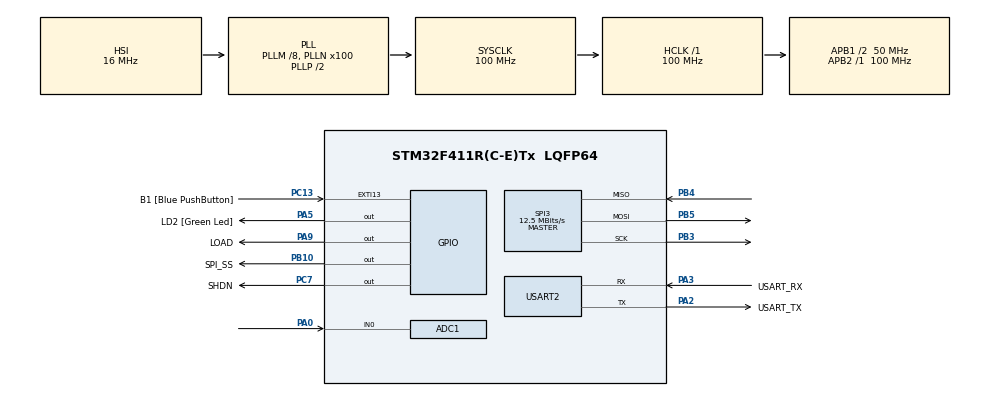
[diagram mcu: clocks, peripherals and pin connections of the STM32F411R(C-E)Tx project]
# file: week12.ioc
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Mcu.Family=STM32F4
PB10.PinState=GPIO_PIN_SET
RCC.CortexFreq_Value=100000000
SPI3.Direction=SPI_DIRECTION_2LINES
SPI3.VirtualType=VM_MASTER
PA14.GPIO_Label=TCK
RCC.SYSCLKSource=RCC_SYSCLKSOURCE_PLLCLK
ProjectManager.StackSize=0x400
NVIC.ADC_IRQn=true\:0\:0\:false\:false\:true\:true\:true
PH0\ -\ OSC_IN.Signal=RCC_OSC_IN
RCC.HCLKFreq_Value=100000000
RCC.APB2TimFreq_Value=100000000
TIM3.Period=100
Dma.ADC1.0.Direction=DMA_PERIPH_TO_MEMORY
PC7.Signal=GPIO_Output
NVIC.DMA2_Stream0_IRQn=true\:0\:0\:false\:false\:true\:false\:true
Dma.ADC1.0.MemDataAlignment=DMA_MDATAALIGN_HALFWORD
RCC.AHBFreq_Value=100000000
SPI3.DataSize=SPI_DATASIZE_16BIT
ADC1.Channel-0\#ChannelRegularConversion=ADC_CHANNEL_0
NVIC.TIM1_TRG_COM_TIM11_IRQn=true\:0\:0\:false\:false\:true\:true\:true
RCC.HSE_VALUE=8000000
PB3.Mode=Full_Duplex_Master
ADC1.ScanConvMode=ENABLE
PC13-ANTI_TAMP.Signal=GPXTI13
PB4.Mode=Full_Duplex_Master
PC14-OSC32_IN.Mode=LSE-External-Oscillator
PA14.Mode=Serial_Wire
TIM3.Prescaler=99
Dma.ADC1.0.PeriphInc=DMA_PINC_DISABLE
PB5.Mode=Full_Duplex_Master
PC7.PinState=GPIO_PIN_SET
SH.ADCx_IN0.0=ADC1_IN0,IN0
ADC1.SamplingTime-0\#ChannelRegularConversion=ADC_SAMPLETIME_3CYCLES
RCC.FLatency-AdvancedSettings=FLASH_LATENCY_3
Mcu.Package=LQFP64
SPI3.Mode=SPI_MODE_MASTER
USART2.VirtualMode=VM_ASYNC
PA2.GPIO_Label=USART_TX
NVIC.SPI3_IRQn=true\:0\:0\:false\:false\:true\:true\:true
RCC.APB1TimFreq_Value=100000000
Dma.ADC1.0.FIFOMode=DMA_FIFOMODE_DISABLE
Dma.Request0=ADC1
ADC1.EOCSelection=ADC_EOC_SEQ_CONV
VP_TIM3_VS_ClockSourceINT.Mode=Internal
PB4.Signal=SPI3_MISO
PA3.Signal=USART2_RX
PC15-OSC32_OUT.Mode=LSE-External-Oscillator
Dma.ADC1.0.Instance=DMA2_Stream0
ADC1.Rank-0\#ChannelRegularConversion=1
PC13-ANTI_TAMP.GPIO_Label=B1 [Blue PushButton]
PA9.GPIO_Label=LOAD
PH1\ -\ OSC_OUT.Mode=HSE-External-Clock-Source
TIM11.Prescaler=99
RCC.APB1CLKDivider=RCC_HCLK_DIV2
PC14-OSC32_IN.Signal=RCC_OSC32_IN
NVIC.USART2_IRQn=true\:0\:0\:false\:false\:true\:true\:true
PA0-WKUP.Signal=ADCx_IN0
VP_TIM11_VS_ClockSourceINT.Mode=Enable_Timer
PA13.Signal=SYS_JTMS-SWDIO
PA3.Mode=Asynchronous
Dma.ADC1.0.PeriphDataAlignment=DMA_PDATAALIGN_HALFWORD
PH0\ -\ OSC_IN.Mode=HSE-External-Clock-Source
ProjectManager.TargetToolchain=STM32CubeIDE
PB10.GPIO_Label=SPI_SS
Dma.ADC1.0.Mode=DMA_CIRCULAR
Dma.ADC1.0.Priority=DMA_PRIORITY_LOW
PA9.Signal=GPIO_Output
PA9.PinState=GPIO_PIN_SET
PC15-OSC32_OUT.Signal=RCC_OSC32_OUT
PB10.Signal=GPIO_Output
PA5.Signal=GPIO_Output
PH1\ -\ OSC_OUT.Signal=RCC_OSC_OUT
board=NUCLEO-F411RE
RCC.VCOOutputFreq_Value=200000000
ADC1.EnableAnalogWatchDog=true
RCC.APB2Freq_Value=100000000
SPI3.CalculateBaudRate=12.5 MBits/s
SPI3.BaudRatePrescaler=SPI_BAUDRATEPRESCALER_4
ADC1.DMAContinuousRequests=ENABLE
PA13.Mode=Serial_Wire
Mcu.Name=STM32F411R(C-E)Tx
PA2.Signal=USART2_TX
PA13.GPIO_Label=TMS
ADC1.ExternalTrigConv=ADC_EXTERNALTRIGCONV_T3_TRGO
PC7.GPIO_Label=SHDN
RCC.48MHZClocksFreq_Value=50000000
PB3.Signal=SPI3_SCK
RCC.SYSCLKFreq_VALUE=100000000
PB5.Signal=SPI3_MOSI
ADC1.master=1
PA5.GPIO_Label=LD2 [Green Led]
PC13-ANTI_TAMP.GPIO_ModeDefaultEXTI=GPIO_MODE_IT_FALLING
PA14.Signal=SYS_JTCK-SWCLK
Dma.ADC1.0.MemInc=DMA_MINC_ENABLE
ProjectManager.HeapSize=0x200
RCC.HSI_VALUE=16000000
NVIC.PriorityGroup=NVIC_PRIORITYGROUP_0
ADC1.NbrOfConversionFlag=1
RCC.PLLM=8
RCC.PLLN=100
PA2.Mode=Asynchronous
TIM3.TIM_MasterOutputTrigger=TIM_TRGO_UPDATE
RCC.APB1Freq_Value=50000000
PA3.GPIO_Label=USART_RX

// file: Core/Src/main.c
/* USER CODE BEGIN Header */
/**
 ******************************************************************************
 * @file           : main.c
 * @brief          : Main program body
 ******************************************************************************
 * @attention
 *
 * <h2><center>&copy; Copyright (c) 2021 STMicroelectronics.
 * All rights reserved.</center></h2>
 *
 * This software component is licensed by ST under BSD 3-Clause license,
 * the "License"; You may not use this file except in compliance with the
 * License. You may obtain a copy of the License at:
 *                        opensource.org/licenses/BSD-3-Clause
 *
 ******************************************************************************
 */
/* USER CODE END Header */
#include "main.h"
#include "math.h"

ADC_HandleTypeDef hadc1;
DMA_HandleTypeDef hdma_adc1;

SPI_HandleTypeDef hspi3;

TIM_HandleTypeDef htim3;
TIM_HandleTypeDef htim11;

UART_HandleTypeDef huart2;

/* USER CODE BEGIN PV */
char TxDataBuffer[32] =
{ 0 };
char RxDataBuffer[32] =
{ 0 };
uint16_t ADCin = 0;
uint64_t _micro = 0;
float Vlow = 0;
uint16_t dataOut = 0;
float halftime = 250;
uint16_t STATE_Display = 0;
float Vhigh = 3.3;
uint16_t Vhighr = 4095;
uint16_t Vlowr = 0;
float m = 1;
float angle = 0;
uint16_t statem[2] = {};
float freq = 1;
uint16_t ufreq = 10;
uint16_t count = 0;
uint16_t dcount = 0;
uint16_t m2 = 0;
uint8_t DACConfig = 0b0011;
uint16_t Mode = 0;
uint16_t Hz = 0;
float time = 0;
float sum = 0;
float sum3 = 0;
uint16_t duty = 50;
uint16_t on = 1;
float x = 1;
float y= 1;
/* USER CODE END PV */

void SystemClock_Config(void);
static void MX_GPIO_Init(void);
static void MX_DMA_Init(void);
static void MX_USART2_UART_Init(void);
static void MX_ADC1_Init(void);
static void MX_SPI3_Init(void);
static void MX_TIM3_Init(void);
static void MX_TIM11_Init(void);
void UARTRecieveAndResponsePolling();
int16_t UARTRecieveIT();
/* USER CODE BEGIN PFP */
void MCP4922SetOutput(uint8_t Config, uint16_t DACOutput);
uint64_t micros();
/* USER CODE END PFP */

int main(void)
{

  /* MCU Configuration--------------------------------------------------------*/

  /* Reset of all peripherals, Initializes the Flash interface and the Systick. */
  HAL_Init();

  /* Configure the system clock */
  SystemClock_Config();

  /* Initialize all configured peripherals */
  MX_GPIO_Init();
  MX_DMA_Init();
  MX_USART2_UART_Init();
  MX_ADC1_Init();
  MX_SPI3_Init();
  MX_TIM3_Init();
  MX_TIM11_Init();
  /* USER CODE BEGIN 2 */
	HAL_TIM_Base_Start(&htim3);
	HAL_TIM_Base_Start_IT(&htim11);
	HAL_ADC_Start_DMA(&hadc1, (uint32_t*) &ADCin, 1);

	HAL_GPIO_WritePin(LOAD_GPIO_Port, LOAD_Pin, GPIO_PIN_RESET);
	enum State_Display{
		StateDisplay_start =0,
			  StateMode = 10,
			  StateMenuNo_1 = 20,
			  StateNo_1 = 30,
			  StateNo_1FP = 40,
			  StateNo_1F = 50,
			  StateNo_1VP = 60,
			  StateNo_1V = 70,
			  StateVhp = 80,
			  StateVh = 90,
			  StateVlp = 100,
			  StateVl = 110,
			  StateNo_1SP = 200,
			  StateNo_1S = 210,
			  StateMenuNo_2 = 300,
			  StateNo_2 = 310,
			  StateMenuNo_3 = 500,
			  StateNo_3 = 510,
			  StateDutyP = 520,
			  StateDuty = 530
	};
  /* USER CODE END 2 */

  /* Infinite loop */
  /* USER CODE BEGIN WHILE */
	while (1)
	{
		if(m==1){
			m2=1;
		}
		if(m==-1){
			m2=2;
		}
		statem[0] = m2;
		static uint64_t timestamp = 0;
		HAL_UART_Receive_IT(&huart2,  (uint8_t*)RxDataBuffer, 32);
		int16_t inputchar = UARTRecieveIT();
		if(inputchar!=-1)
		{
			sprintf(TxDataBuffer, "In:[%c]\r\n", inputchar);
			HAL_UART_Transmit(&huart2, (uint8_t*)TxDataBuffer, strlen(TxDataBuffer),1000);
		}
		switch(STATE_Display){
		case StateDisplay_start://0
			sprintf(TxDataBuffer, "Mode.\r\n[1]:sawtooth\r\n[2]:sine wave\r\n[3]:square wave\r\n");
			HAL_UART_Transmit(&huart2, (uint8_t*)TxDataBuffer, strlen(TxDataBuffer),1000);
		  	STATE_Display = StateMode;
		  	break;
		case StateMode://10
			switch(inputchar){
			case -1:
				break;
			case '1':
				count = 0;
				STATE_Display = StateMenuNo_1;//20
				Mode = 1;
				break;
			case '2':
				count = 0;
				STATE_Display = StateMenuNo_2;//300
				Mode = 2;
				break;
			case '3':
				count = 0;
				STATE_Display = StateMenuNo_3;//500
				Mode = 3;
				break;
			default:
				  count+=1;
				  if(count==2)
				  {
					  count=0;
					  STATE_Display = StateDisplay_start;//0
				  }
			}
			break;
		case StateMenuNo_1://20
			  sprintf(TxDataBuffer,"sawtooth\r\n[f]:frequency\r\n[v]:Vhigh,Vlow\r\n[s]:slope\r\n[x]:x\r\n");
			  HAL_UART_Transmit(&huart2, (uint8_t*)TxDataBuffer, strlen(TxDataBuffer),1000);
			  STATE_Display = StateNo_1;//30
			  break;
		case StateNo_1://30
			switch(inputchar){
			case -1:
				break;
			case 'f':
				count = 0;
				STATE_Display = StateNo_1FP;//40
				break;
			case 'v':
				count = 0;
				STATE_Display = StateNo_1VP;//60
				break;
			case 's':
				count = 0;
				STATE_Display = StateNo_1SP;//200
				break;
			case 'x':
				count =0;
				STATE_Display = StateDisplay_start;//0
				break;
			default:
				count+=1;
				if(count==2){
					count = 0;
					STATE_Display = StateMenuNo_1;//20
				}
			}break;
		case StateNo_1FP://40
			  sprintf(TxDataBuffer,"frequency\r\n[+]:+0.1Hz\r\n[-]:-0.1Hz\r\n[x]:x\r\n");
			  HAL_UART_Transmit(&huart2, (uint8_t*)TxDataBuffer, strlen(TxDataBuffer),1000);
			  STATE_Display = StateNo_1F;//50
			  break;
		case StateNo_1F://50
					switch(inputchar){
					case -1:
						break;
			case '+':
				Hz = 0;
				count+=1;
				if(count==2){
					count = 0;
					STATE_Display = StateNo_1FP;//40
				}
				if(ufreq<=99){
				ufreq+=1;
				}
				freq = ufreq/10.0;
				halftime =  250/freq;
				break;
			case '-':
				count+=1;
				if(count==2){
					count = 0;
					STATE_Display = StateNo_1FP;//40
				}
				if(ufreq>=1){
					ufreq-=1;
					freq=ufreq/10.0;
					halftime = 250/freq;
				}
				if(ufreq==0){
					Hz = 1;
					freq=0;
					halftime=0;
				}

				break;
			case 'x':
				count =0;
				if(Mode==1){
				STATE_Display = StateMenuNo_1;}//20
				else if(Mode==2){
				STATE_Display = StateMenuNo_2;}//300
				else if(Mode==3){
				STATE_Display = StateMenuNo_3;}//500
				break;
			default:
				count+=1;
				if(count==2){
					count = 0;
					STATE_Display = StateNo_1FP;//40
				}
			}break;
		case StateNo_1VP://60
			sprintf(TxDataBuffer,"Voltage\r\n[h]:high\r\n[l]:low\r\n[x]:x\r\n");
			HAL_UART_Transmit(&huart2, (uint8_t*)TxDataBuffer, strlen(TxDataBuffer),1000);
			STATE_Display = StateNo_1V;//70
			break;
			case StateNo_1V://70
				switch(inputchar){
				case -1:
					break;
				case 'h':
					count = 0;
					STATE_Display = StateVhp;//80
					break;
				case 'l':
					count = 0;
					STATE_Display = StateVlp;//100
					break;
				case 'x':
					count =0;
					if(Mode==1){
					STATE_Display = StateMenuNo_1;}//30
					else if(Mode==2){
					STATE_Display = StateMenuNo_2;}//300
					else if(Mode==3){
					STATE_Display = StateMenuNo_3;}//500
					break;
				default:
					count+=1;
					if(count==2){
						count = 0;
						STATE_Display = StateNo_1VP;}//60
				}break;
				case StateVhp://80
					sprintf(TxDataBuffer,"Vhigh\r\n[+]:+\r\n[-]:-\r\n[x]:x\r\n");
					HAL_UART_Transmit(&huart2, (uint8_t*)TxDataBuffer, strlen(TxDataBuffer),1000);
					STATE_Display = StateVh;//90
					break;
				case StateVh://90
					switch(inputchar)
					{
						case -1:
							break;
						case '+':
							count+=1;
							if(count==2)
							{
								count = 0;
								STATE_Display = StateVhp;//80
							}
							Vhigh+=0.1;
							if(Vhigh>=3.3)
							{
								Vhigh=3.3;
							}
							Vhighr = Vhigh*4095/3.3;
							Vlowr = Vlow*4095/3.3;
							break;
						case '-':
							count+=1;
							if(count==2)
							{
								count = 0;
								STATE_Display = StateVhp;//80
							}
								Vhigh-=0.1;
							if(Vhigh<=0.08)
							{
								Vhigh=0.1;
							}
							if(Vhigh-0.001<=Vlow&Vlow!=0)
							{
								Vlow=Vhigh-0.1;
							}
							if(Vhigh-0.001<=Vlow&Vlow==0)
							{
								Vhigh+=0.1;
							}
							Vhighr = Vhigh*4095/3.3;
							Vlowr = Vlow*4095/3.3;
							break;
						case 'x':
							count =0;
							STATE_Display = StateNo_1VP;//60
							break;
						default:
							count+=1;
							if(count==2)
							{
								count = 0;
								STATE_Display = StateVhp;//80
							}
					}break;
					case StateVlp://100
						sprintf(TxDataBuffer,"Vlow\r\n[+]:+\r\n[-]:-\r\n[x]:x\r\n");
						HAL_UART_Transmit(&huart2, (uint8_t*)TxDataBuffer, strlen(TxDataBuffer),1000);
						STATE_Display = StateVl;//110
						break;
					case StateVl://110
						switch(inputchar)
						{
							case -1:
								break;
							case '+':
								count+=1;
								if(count==2)
								{
									count = 0;
									STATE_Display = StateVlp;//100
								}
								Vlow+=0.1;
								if(Vlow>=3.18)
								{
									Vlow=3.2;
								}
								if(Vlow>=Vhigh-0.001&Vhigh<=3.3)
								{
									Vhigh=Vlow+0.1;
								}
								if(Vlow>=Vhigh-0.001&Vhigh==3.3)
								{
									Vlow-=0.1;
								}
								Vhighr = Vhigh*4095/3.3;
								Vlowr = Vlow*4095/3.3;
								break;
							case '-':
								count+=1;
								if(count==2)
								{
									count = 0;
									STATE_Display = StateVlp;//100
								}
									Vlow-=0.1;
								if(Vlow<=0.08)
								{
									Vlow=0;
								}
								Vhighr = Vhigh*4095/3.3;
								Vlowr = Vlow*4095/3.3;
								break;
							case 'x':
								count =0;
								STATE_Display = StateNo_1VP;//60
								break;
							default:
								count+=1;
								if(count==2)
								{
									count = 0;
									STATE_Display = StateVlp;//60
								}
						}break;

				case StateNo_1SP://200
					sprintf(TxDataBuffer,"slope\r\n[+]:+\r\n[-]:-\r\n[x]:x\r\n");
					HAL_UART_Transmit(&huart2, (uint8_t*)TxDataBuffer, strlen(TxDataBuffer),1000);
					STATE_Display = StateNo_1S;//210
					break;
					case StateNo_1S://210
						switch(inputchar){
						case -1:
							break;
						case '+':
							count += 1;
							if(count==2)
							{
								count = 0;
								STATE_Display = StateNo_1SP;//200
							}
							if(m==-1){
								m=1;
							}
							if(statem[0]==1&statem[1]==2){
								dataOut=Vlowr;
							}
							break;
						case '-':
							count += 1;
							if(count==2)
							{
								count = 0;
								STATE_Display = StateNo_1SP;//200
							}
							if(m==1){
								m=-1;
							}
							if(statem[0]==2&statem[1]==1){
								dataOut=Vhighr;
							}
							break;
						case 'x':
							count =0;
							STATE_Display = StateMenuNo_1;//20
							break;
						default:
							count+=1;
							if(count==2)
							{
								count = 0;
								STATE_Display = StateNo_1SP;//200
							}
						}break;
						case StateMenuNo_2://300
							  sprintf(TxDataBuffer,"sine\r\n[f]:freq\r\n[v]:Vhigh,Vlow\r\n[x]:x\r\n");
							  HAL_UART_Transmit(&huart2, (uint8_t*)TxDataBuffer, strlen(TxDataBuffer),1000);
							  STATE_Display = StateNo_2;//310
							  break;
						case StateNo_2://310
							switch(inputchar){
							case -1:
								break;
							case 'f':
								count = 0;
								STATE_Display = StateNo_1FP;//40
								break;
							case 'v':
								count = 0;
								STATE_Display = StateNo_1VP;//60
								break;
							case 'x':
								count =0;
								STATE_Display = StateDisplay_start;//0
								break;
							default:
								count+=1;
								if(count==2){
									count = 0;
									STATE_Display = StateMenuNo_2;//310
								}
							}break;
							case StateMenuNo_3://500
								  sprintf(TxDataBuffer,"square\r\n[f]:freq\r\n[v]:Vhigh,Vlow\r\n[d]:duty\r\n[x]:x\r\n");
								  HAL_UART_Transmit(&huart2, (uint8_t*)TxDataBuffer, strlen(TxDataBuffer),1000);
								  STATE_Display = StateNo_3;//510
								  break;
							case StateNo_3://510
								switch(inputchar){
								case -1:
									break;
								case 'f':
									count = 0;
									STATE_Display = StateNo_1FP;//40
									break;
								case 'v':
									count = 0;
									STATE_Display = StateNo_1VP;//60
									break;
								case 'd':
									count = 0;
									STATE_Display = StateDutyP;
									break;
								case 'x':
									count =0;
									STATE_Display = StateDisplay_start;//0
									break;
								default:
									count+=1;
									if(count==2){
										count = 0;
										STATE_Display = StateMenuNo_3;//510
									}
								}break;
								case StateDutyP://520
									  sprintf(TxDataBuffer,"Duty cycle\r\n[+]:+\r\n[-]:-\r\n[x]:x\r\n");
									  HAL_UART_Transmit(&huart2, (uint8_t*)TxDataBuffer, strlen(TxDataBuffer),1000);
									  STATE_Display = StateDuty;//510
									  break;
								case StateDuty://510
									switch(inputchar){
									case -1:
										break;
									case '+':
										count+=1;
										if(count>=2){
											count=0;
											STATE_Display = StateDutyP;
										}
										if(duty<=99){
										duty+=1;}
										break;
									case '-':
										count+=1;
										if(count>=2){
											count=0;
											STATE_Display = StateDutyP;
										}
										if(duty>=1){
											duty-=1;
										}
										break;
									case 'x':
										count =0;
										STATE_Display = StateMenuNo_3;//0
										break;
									default:
										count+=1;
										if(count==2){
											count = 0;
											STATE_Display = StateDutyP;//510
										}
									}break;

		}
		if(Mode==1){
//			time =  halftime*((4095.0)/(Vhighr-Vlowr));
			time = 100;
		}
		if(Mode==2){
			time = 100;
		}
		if(Mode==3){
//			time = halftime;
			time = 100;
		}
		if (micros() - timestamp > time)
		{
			timestamp = micros();
			if(Hz==1)
			{
				dataOut=(Vhighr+Vlowr)/2;
			}
			if(Mode==1&ufreq>=1){
				sum+=0.4095*m*freq*(Vhighr-Vlowr)/4095.0;
				if(sum>=Vhighr&m==1){
					sum=Vlowr;
				}
				if(sum<=Vlowr&m==-1){
					sum=Vhighr-Vlowr;
				}
				dataOut=sum;
			}
			if(Mode==3&Hz==0){
				sum3+=0.4095*freq;
				if(sum3>=4095){
					sum3=0;
				}
				if(duty==100){
					dataOut=Vhighr;
				}
				if(duty==0){
					dataOut=Vlowr;
				}
				if(sum3<=duty*4095.0/100.0&duty>0&duty<100){
					dataOut=Vhighr;
				}
				if(sum3>duty*4095.0/100.0&duty>0&duty<100){
					dataOut=Vlowr;
				}

			}
//			if((Mode==1)&(ufreq>=1)&(m==-1))
//			{
//				dataOut-=1;
//				if(dataOut<=Vlowr)
//				{
//					dataOut+=Vhighr-Vlowr;
//				}
//			}
//			if(Mode==1&ufreq>=1&m==1)
//			{
//				dataOut+=1;
//				if(dataOut>=Vhighr)
//				{
//					dataOut = (dataOut%Vhighr) + Vlowr;
//				}
//			}
			if(Mode==2&Hz==0){
				angle+=0.0001;
				dataOut=((Vhighr-Vlowr)/2)*sin(2*M_PI*freq*angle)+((Vhighr+Vlowr)/2);
			}
//			if(Mode==3&Hz==0){
//				dcount+=1;
//				if(dcount<duty*4096.0/(100.0*y)){
//					dataOut=Vhighr;
//				}
//				if(dcount>=duty*4096/(100.0*y))
//				{
//					if(duty<100){
//					dataOut=Vlowr;
//					if(dcount>x*4096/(y)){
//						dcount=0;}
//					if(duty==100){
//						count=0;
//					}
//					}
//				}
//			}
			if (hspi3.State == HAL_SPI_STATE_READY
					&& HAL_GPIO_ReadPin(SPI_SS_GPIO_Port, SPI_SS_Pin)
							== GPIO_PIN_SET)
			{
				MCP4922SetOutput(DACConfig, dataOut);
			}
		}
		statem[1]=statem[0];
    /* USER CODE END WHILE */

	}
}

void SystemClock_Config(void)
{
  RCC_OscInitTypeDef RCC_OscInitStruct = {0};
  RCC_ClkInitTypeDef RCC_ClkInitStruct = {0};

  /** Configure the main internal regulator output voltage
  */
  __HAL_RCC_PWR_CLK_ENABLE();
  __HAL_PWR_VOLTAGESCALING_CONFIG(PWR_REGULATOR_VOLTAGE_SCALE1);
  /** Initializes the RCC Oscillators according to the specified parameters
  * in the RCC_OscInitTypeDef structure.
  */
  RCC_OscInitStruct.OscillatorType = RCC_OSCILLATORTYPE_HSI;
  RCC_OscInitStruct.HSIState = RCC_HSI_ON;
  RCC_OscInitStruct.HSICalibrationValue = RCC_HSICALIBRATION_DEFAULT;
  RCC_OscInitStruct.PLL.PLLState = RCC_PLL_ON;
  RCC_OscInitStruct.PLL.PLLSource = RCC_PLLSOURCE_HSI;
  RCC_OscInitStruct.PLL.PLLM = 8;
  RCC_OscInitStruct.PLL.PLLN = 100;
  RCC_OscInitStruct.PLL.PLLP = RCC_PLLP_DIV2;
  RCC_OscInitStruct.PLL.PLLQ = 4;
  if (HAL_RCC_OscConfig(&RCC_OscInitStruct) != HAL_OK)
  {
    Error_Handler();
  }
  /** Initializes the CPU, AHB and APB buses clocks
  */
  RCC_ClkInitStruct.ClockType = RCC_CLOCKTYPE_HCLK|RCC_CLOCKTYPE_SYSCLK
                              |RCC_CLOCKTYPE_PCLK1|RCC_CLOCKTYPE_PCLK2;
  RCC_ClkInitStruct.SYSCLKSource = RCC_SYSCLKSOURCE_PLLCLK;
  RCC_ClkInitStruct.AHBCLKDivider = RCC_SYSCLK_DIV1;
  RCC_ClkInitStruct.APB1CLKDivider = RCC_HCLK_DIV2;
  RCC_ClkInitStruct.APB2CLKDivider = RCC_HCLK_DIV1;

  if (HAL_RCC_ClockConfig(&RCC_ClkInitStruct, FLASH_LATENCY_3) != HAL_OK)
  {
    Error_Handler();
  }
}

static void MX_ADC1_Init(void)
{

  ADC_AnalogWDGConfTypeDef AnalogWDGConfig = {0};
  ADC_ChannelConfTypeDef sConfig = {0};

  /** Configure the global features of the ADC (Clock, Resolution, Data Alignment and number of conversion)
  */
  hadc1.Instance = ADC1;
  hadc1.Init.ClockPrescaler = ADC_CLOCK_SYNC_PCLK_DIV4;
  hadc1.Init.Resolution = ADC_RESOLUTION_12B;
  hadc1.Init.ScanConvMode = ENABLE;
  hadc1.Init.ContinuousConvMode = DISABLE;
  hadc1.Init.DiscontinuousConvMode = DISABLE;
  hadc1.Init.ExternalTrigConvEdge = ADC_EXTERNALTRIGCONVEDGE_RISING;
  hadc1.Init.ExternalTrigConv = ADC_EXTERNALTRIGCONV_T3_TRGO;
  hadc1.Init.DataAlign = ADC_DATAALIGN_RIGHT;
  hadc1.Init.NbrOfConversion = 1;
  hadc1.Init.DMAContinuousRequests = ENABLE;
  hadc1.Init.EOCSelection = ADC_EOC_SEQ_CONV;
  if (HAL_ADC_Init(&hadc1) != HAL_OK)
  {
    Error_Handler();
  }
  /** Configure the analog watchdog
  */
  AnalogWDGConfig.WatchdogMode = ADC_ANALOGWATCHDOG_SINGLE_REG;
  AnalogWDGConfig.HighThreshold = 0;
  AnalogWDGConfig.LowThreshold = 0;
  AnalogWDGConfig.Channel = ADC_CHANNEL_0;
  AnalogWDGConfig.ITMode = DISABLE;
  if (HAL_ADC_AnalogWDGConfig(&hadc1, &AnalogWDGConfig) != HAL_OK)
  {
    Error_Handler();
  }
  /** Configure for the selected ADC regular channel its corresponding rank in the sequencer and its sample time.
  */
  sConfig.Channel = ADC_CHANNEL_0;
  sConfig.Rank = 1;
  sConfig.SamplingTime = ADC_SAMPLETIME_3CYCLES;
  if (HAL_ADC_ConfigChannel(&hadc1, &sConfig) != HAL_OK)
  {
    Error_Handler();
  }

}

static void MX_SPI3_Init(void)
{

  /* SPI3 parameter configuration*/
  hspi3.Instance = SPI3;
  hspi3.Init.Mode = SPI_MODE_MASTER;
  hspi3.Init.Direction = SPI_DIRECTION_2LINES;
  hspi3.Init.DataSize = SPI_DATASIZE_16BIT;
  hspi3.Init.CLKPolarity = SPI_POLARITY_LOW;
  hspi3.Init.CLKPhase = SPI_PHASE_1EDGE;
  hspi3.Init.NSS = SPI_NSS_SOFT;
  hspi3.Init.BaudRatePrescaler = SPI_BAUDRATEPRESCALER_4;
  hspi3.Init.FirstBit = SPI_FIRSTBIT_MSB;
  hspi3.Init.TIMode = SPI_TIMODE_DISABLE;
  hspi3.Init.CRCCalculation = SPI_CRCCALCULATION_DISABLE;
  hspi3.Init.CRCPolynomial = 10;
  if (HAL_SPI_Init(&hspi3) != HAL_OK)
  {
    Error_Handler();
  }

}

static void MX_TIM3_Init(void)
{

  TIM_ClockConfigTypeDef sClockSourceConfig = {0};
  TIM_MasterConfigTypeDef sMasterConfig = {0};

  htim3.Instance = TIM3;
  htim3.Init.Prescaler = 99;
  htim3.Init.CounterMode = TIM_COUNTERMODE_UP;
  htim3.Init.Period = 100;
  htim3.Init.ClockDivision = TIM_CLOCKDIVISION_DIV1;
  htim3.Init.AutoReloadPreload = TIM_AUTORELOAD_PRELOAD_DISABLE;
  if (HAL_TIM_Base_Init(&htim3) != HAL_OK)
  {
    Error_Handler();
  }
  sClockSourceConfig.ClockSource = TIM_CLOCKSOURCE_INTERNAL;
  if (HAL_TIM_ConfigClockSource(&htim3, &sClockSourceConfig) != HAL_OK)
  {
    Error_Handler();
  }
  sMasterConfig.MasterOutputTrigger = TIM_TRGO_UPDATE;
  sMasterConfig.MasterSlaveMode = TIM_MASTERSLAVEMODE_DISABLE;
  if (HAL_TIMEx_MasterConfigSynchronization(&htim3, &sMasterConfig) != HAL_OK)
  {
    Error_Handler();
  }

}

static void MX_TIM11_Init(void)
{

  htim11.Instance = TIM11;
  htim11.Init.Prescaler = 99;
  htim11.Init.CounterMode = TIM_COUNTERMODE_UP;
  htim11.Init.Period = 65535;
  htim11.Init.ClockDivision = TIM_CLOCKDIVISION_DIV1;
  htim11.Init.AutoReloadPreload = TIM_AUTORELOAD_PRELOAD_DISABLE;
  if (HAL_TIM_Base_Init(&htim11) != HAL_OK)
  {
    Error_Handler();
  }

}

static void MX_USART2_UART_Init(void)
{

  huart2.Instance = USART2;
  huart2.Init.BaudRate = 115200;
  huart2.Init.WordLength = UART_WORDLENGTH_8B;
  huart2.Init.StopBits = UART_STOPBITS_1;
  huart2.Init.Parity = UART_PARITY_NONE;
  huart2.Init.Mode = UART_MODE_TX_RX;
  huart2.Init.HwFlowCtl = UART_HWCONTROL_NONE;
  huart2.Init.OverSampling = UART_OVERSAMPLING_16;
  if (HAL_UART_Init(&huart2) != HAL_OK)
  {
    Error_Handler();
  }

}

static void MX_DMA_Init(void)
{

  /* DMA controller clock enable */
  __HAL_RCC_DMA2_CLK_ENABLE();

  /* DMA interrupt init */
  /* DMA2_Stream0_IRQn interrupt configuration */
  HAL_NVIC_SetPriority(DMA2_Stream0_IRQn, 0, 0);
  HAL_NVIC_EnableIRQ(DMA2_Stream0_IRQn);

}

static void MX_GPIO_Init(void)
{
  GPIO_InitTypeDef GPIO_InitStruct = {0};

  /* GPIO Ports Clock Enable */
  __HAL_RCC_GPIOC_CLK_ENABLE();
  __HAL_RCC_GPIOH_CLK_ENABLE();
  __HAL_RCC_GPIOA_CLK_ENABLE();
  __HAL_RCC_GPIOB_CLK_ENABLE();

  /*Configure GPIO pin Output Level */
  HAL_GPIO_WritePin(LD2_GPIO_Port, LD2_Pin, GPIO_PIN_RESET);

  /*Configure GPIO pin Output Level */
  HAL_GPIO_WritePin(SPI_SS_GPIO_Port, SPI_SS_Pin, GPIO_PIN_SET);

  /*Configure GPIO pin Output Level */
  HAL_GPIO_WritePin(SHDN_GPIO_Port, SHDN_Pin, GPIO_PIN_SET);

  /*Configure GPIO pin Output Level */
  HAL_GPIO_WritePin(LOAD_GPIO_Port, LOAD_Pin, GPIO_PIN_SET);

  /*Configure GPIO pin : B1_Pin */
  GPIO_InitStruct.Pin = B1_Pin;
  GPIO_InitStruct.Mode = GPIO_MODE_IT_FALLING;
  GPIO_InitStruct.Pull = GPIO_NOPULL;
  HAL_GPIO_Init(B1_GPIO_Port, &GPIO_InitStruct);

  /*Configure GPIO pins : LD2_Pin LOAD_Pin */
  GPIO_InitStruct.Pin = LD2_Pin|LOAD_Pin;
  GPIO_InitStruct.Mode = GPIO_MODE_OUTPUT_PP;
  GPIO_InitStruct.Pull = GPIO_NOPULL;
  GPIO_InitStruct.Speed = GPIO_SPEED_FREQ_LOW;
  HAL_GPIO_Init(GPIOA, &GPIO_InitStruct);

  /*Configure GPIO pin : SPI_SS_Pin */
  GPIO_InitStruct.Pin = SPI_SS_Pin;
  GPIO_InitStruct.Mode = GPIO_MODE_OUTPUT_PP;
  GPIO_InitStruct.Pull = GPIO_NOPULL;
  GPIO_InitStruct.Speed = GPIO_SPEED_FREQ_LOW;
  HAL_GPIO_Init(SPI_SS_GPIO_Port, &GPIO_InitStruct);

  /*Configure GPIO pin : SHDN_Pin */
  GPIO_InitStruct.Pin = SHDN_Pin;
  GPIO_InitStruct.Mode = GPIO_MODE_OUTPUT_PP;
  GPIO_InitStruct.Pull = GPIO_NOPULL;
  GPIO_InitStruct.Speed = GPIO_SPEED_FREQ_LOW;
  HAL_GPIO_Init(SHDN_GPIO_Port, &GPIO_InitStruct);

}

/* USER CODE BEGIN 4 */

void UARTRecieveAndResponsePolling()
{
	char Recieve[32]={0};

	HAL_UART_Receive(&huart2, (uint8_t*)Recieve, 4, 1000);

	sprintf(TxDataBuffer, "Received:[%s]\r\n", Recieve);
	HAL_UART_Transmit(&huart2, (uint8_t*)TxDataBuffer, strlen(TxDataBuffer), 1000);

}

int16_t UARTRecieveIT()
{
	static uint32_t dataPos =0;
	int16_t data=-1;
	if(huart2.RxXferSize - huart2.RxXferCount!=dataPos)
	{
		data=RxDataBuffer[dataPos];
		dataPos= (dataPos+1)%huart2.RxXferSize;
	}
	return data;
}

void HAL_UART_RxCpltCallback(UART_HandleTypeDef *huart)
{
	sprintf(TxDataBuffer, "Received:[%s]\r\n", RxDataBuffer);
	HAL_UART_Transmit_IT(&huart2, (uint8_t*)TxDataBuffer, strlen(TxDataBuffer));
}
void MCP4922SetOutput(uint8_t Config, uint16_t DACOutput)
{
	uint32_t OutputPacket = (DACOutput & 0x0fff) | ((Config & 0xf) << 12);
	HAL_GPIO_WritePin(SPI_SS_GPIO_Port, SPI_SS_Pin, GPIO_PIN_RESET);
	HAL_SPI_Transmit_IT(&hspi3, &OutputPacket, 1);
}

void HAL_SPI_TxCpltCallback(SPI_HandleTypeDef *hspi)
{
	if (hspi == &hspi3)
	{
		HAL_GPIO_WritePin(SPI_SS_GPIO_Port, SPI_SS_Pin, GPIO_PIN_SET);
	}
}

void HAL_TIM_PeriodElapsedCallback(TIM_HandleTypeDef *htim)
{
	if (htim == &htim11)
	{
		_micro += 65535;
	}
}

inline uint64_t micros()
{
	return htim11.Instance->CNT + _micro;
}
/* USER CODE END 4 */

void Error_Handler(void)
{
	__disable_irq();
	while (1)
	{
	}
}

/************************ (C) COPYRIGHT STMicroelectronics *****END OF FILE****/
